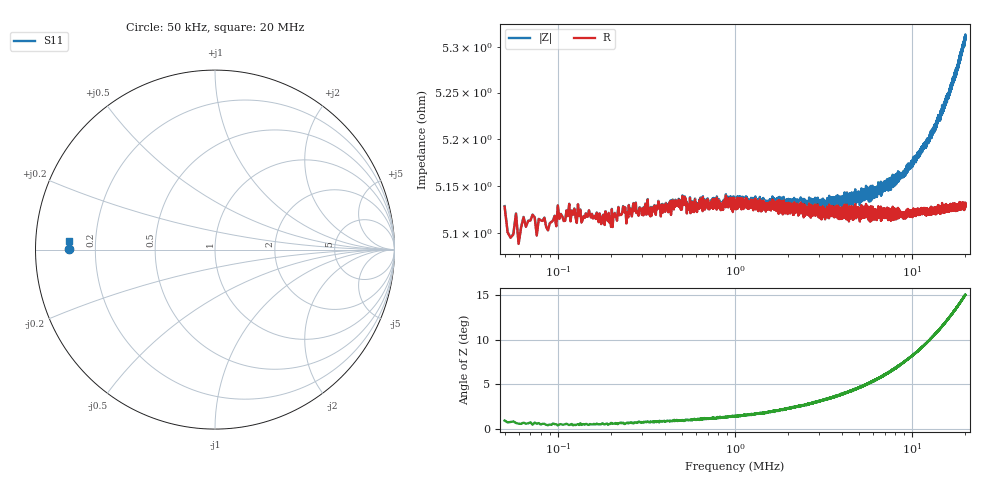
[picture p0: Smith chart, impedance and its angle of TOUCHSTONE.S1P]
!Keysight Technologies,E5063A,MY54100949,A.07.00
!Date: Tue Nov 25 20:10:46 2025
!Data & Calibration Information:
!Freq	S11:SOLT1(ON)
# Hz S RI R 50
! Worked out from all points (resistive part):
!   10001 points, 50 kHz to 20 MHz, reference 50 ohm
!   read as one part to ground: R = 5.12 ohm at 149.8 kHz
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50000  -0.814 0.00281
151745  -0.8142 0.00167
179675  -0.8143 0.00182
369200  -0.8138 0.00251
458975  -0.814 0.00277
973685  -0.8141 0.00418
1504355  -0.8141 0.00548
2196620  -0.8141 0.00739
2543750  -0.8141 0.00789
3230030  -0.8142 0.00971
5037500  -0.8141 0.0135
5406575  -0.814 0.0144
6074900  -0.8142 0.0159
6561680  -0.814 0.0171
7531250  -0.8139 0.019
7856435  -0.8139 0.0197
8977625  -0.814 0.0221
9544205  -0.8139 0.0233
1.0025e7  -0.8139 0.0242
1.124195e7  -0.8137 0.0269
1.251875e7  -0.8137 0.0295
1.350428e7  -0.8135 0.0316
1.398508e7  -0.8134 0.0326
1.432822e7  -0.8135 0.0333
1.50125e7  -0.8134 0.0348
1.750625e7  -0.8132 0.04
1.986434e7  -0.8128 0.0449
2e7  -0.8128 0.0452
